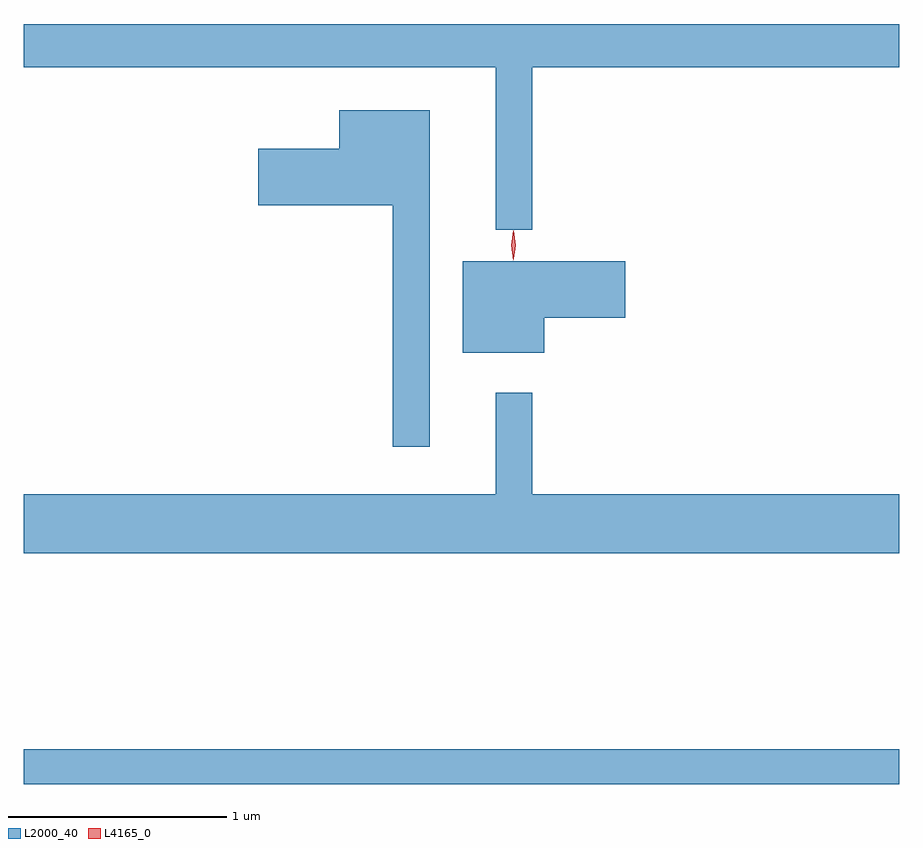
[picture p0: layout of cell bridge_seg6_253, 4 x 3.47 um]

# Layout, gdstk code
import gdstk
lib = gdstk.Library(unit=1e-6, precision=1e-09)
def R(c, l, rs):  # rectangles x0, y0, x1, y1
    for r in rs: c.add(gdstk.rectangle(r[:2], r[2:], *l))
def P(c, l, *ps):  # polygons
    for p in ps: c.add(gdstk.Polygon(p, *l))
L2000_40 = (2000, 40)
L4165_0 = (4165, 0)

bridge_seg6_253 = lib.new_cell('bridge_seg6_253')
R(bridge_seg6_253, L2000_40, [(1243.195,1595.601,1247.195,1595.759)])
P(bridge_seg6_253, L2000_40, [(1243.195,1598.876),(1245.351,1598.876),(1245.351,1598.133),(1245.519,1598.133),(1245.519,1598.876),(1247.195,1598.876),(1247.195,1599.074),(1243.195,1599.074)],
  [(1245.049,1598.679),(1244.636,1598.679),(1244.636,1598.504),(1244.266,1598.504),(1244.266,1598.246),(1244.881,1598.246),(1244.881,1597.143),(1245.049,1597.143)],
  [(1245.574,1597.731),(1245.944,1597.731),(1245.944,1597.989),(1245.201,1597.989),(1245.201,1597.571),(1245.574,1597.571)],
  [(1247.195,1596.924),(1245.519,1596.924),(1245.519,1597.388),(1245.351,1597.388),(1245.351,1596.924),(1243.195,1596.924),(1243.195,1596.656),(1247.195,1596.656)])
P(bridge_seg6_253, L4165_0, [(1245.433,1598),(1245.432,1598.001),(1245.423,1598.064),(1245.432,1598.126),(1245.433,1598.127),(1245.434,1598.126),(1245.443,1598.064),(1245.434,1598.001)],
  [(1245.431,1597.994),(1245.431,1597.994),(1245.422,1598.062),(1245.432,1598.13),(1245.433,1598.13),(1245.434,1598.13),(1245.442,1598.062),(1245.432,1597.994)])

lib.write_gds('bridge_seg6_253.gds')
